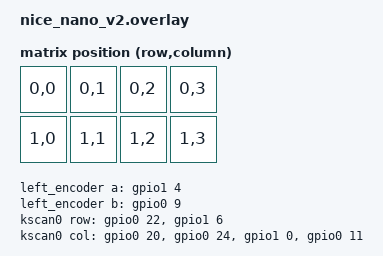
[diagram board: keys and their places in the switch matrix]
#include <dt-bindings/zmk/matrix_transform.h>

/ {
    chosen {
        zmk,kscan = &kscan0;
        zmk,matrix_transform = &default_transform;
        zmk,display = &oled;
    };

    left_encoder: encoder_left {
        compatible = "alps,ec11";
        b-gpios = <&gpio0 9 (GPIO_ACTIVE_HIGH | GPIO_PULL_UP)>; 
        a-gpios = <&gpio1 4 (GPIO_ACTIVE_HIGH | GPIO_PULL_UP)>;
        steps = <80>; 
    };

    sensors {
        compatible = "zmk,keymap-sensors";
        sensors = <&left_encoder>;
        triggers-per-rotation = <20>;
    };

    kscan0: kscan_0 {
        compatible = "zmk,kscan-gpio-matrix";
        diode-direction = "col2row";

        /* Đã đảo 2 hàng cho hết ngược */
        row-gpios
            = <&gpio0 22 (GPIO_ACTIVE_HIGH | GPIO_PULL_DOWN)>
            , <&gpio1 6  (GPIO_ACTIVE_HIGH | GPIO_PULL_DOWN)>
            ;

        col-gpios
            = <&gpio0 20  GPIO_ACTIVE_HIGH>
            , <&gpio0 24  GPIO_ACTIVE_HIGH>
            , <&gpio1 0   GPIO_ACTIVE_HIGH>
            , <&gpio0 11  GPIO_ACTIVE_HIGH>
            ;
    };

    default_transform: keymap_transform_0 {
        compatible = "zmk,matrix-transform";
        columns = <4>;
        rows = <2>;
        map = <
            RC(0,0) RC(0,1) RC(0,2) RC(0,3)
            RC(1,0) RC(1,1) RC(1,2) RC(1,3)
        >;
    };
};

&i2c0 {
    status = "okay";
    compatible = "nordic,nrf-twi";
    sda-pin = <10>; /* P0.10 */
    scl-pin = <43>; /* P1.11 (tính theo công thức base 32 của nRF: 32 + 11 = 43) */

    oled: ssd1306@3c {
        compatible = "solomon,ssd1306fb";
        reg = <0x3c>;
        width = <128>;
        height = <32>; /* Đổi thành 64 nếu màn hình của bác là loại 128x64 */
        segment-offset = <0>;
        page-offset = <0>;
        display-offset = <0>;
        multiplex-ratio = <31>; /* Đổi thành 63 nếu màn hình của bác là loại 128x64 */
        segment-remap;
        com-invdir;
        com-sequential;
        prechargep = <0x22>;
    };
};
